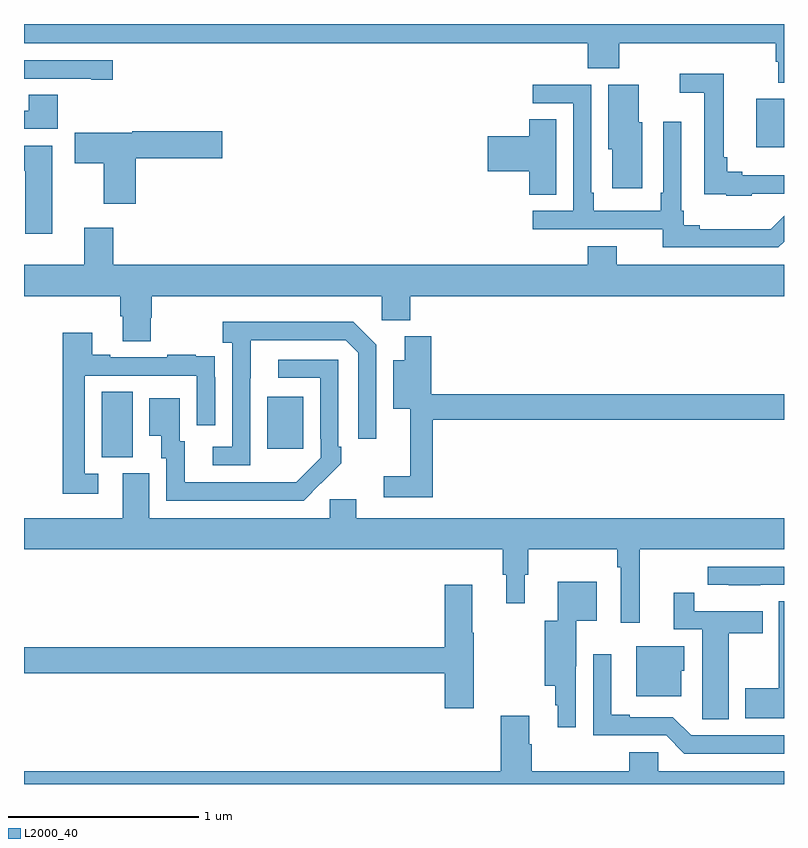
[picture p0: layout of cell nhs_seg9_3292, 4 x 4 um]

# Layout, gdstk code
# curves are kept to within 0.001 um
import gdstk
lib = gdstk.Library(unit=1e-6, precision=1e-09)
def R(c, l, rs):  # rectangles x0, y0, x1, y1
    for r in rs: c.add(gdstk.rectangle(r[:2], r[2:], *l))
def P(c, l, *ps):  # polygons
    for p in ps: c.add(gdstk.Polygon(p, *l))
L2000_40 = (2000, 40)

nhs_seg9_3292 = lib.new_cell('nhs_seg9_3292')
R(nhs_seg9_3292, L2000_40, [(299.408,1214.221,299.572,1214.564), (300.281,1214.265,300.469,1214.539), (302.855,1215.852,303,1216.107)])
P(nhs_seg9_3292, L2000_40, [(303,1216.5),(299,1216.5),(299,1216.4),(301.967,1216.4),(301.967,1216.266),(302.132,1216.266),(302.132,1216.4),(302.957,1216.4),(302.957,1216.302),(302.969,1216.302),(302.969,1216.192),(303,1216.192)],
  [(299.467,1216.308),(299,1216.308),(299,1216.212),(299.354,1216.212),(299.354,1216.207),(299.467,1216.207)],
  [(302.829,1215.606),(303,1215.606),(303,1215.703),(302.779,1215.703),(302.779,1215.722),(302.701,1215.722),(302.701,1215.799),(302.683,1215.799),(302.683,1216.237),(302.451,1216.237),(302.451,1216.139),(302.579,1216.139),(302.579,1215.605),(302.697,1215.605),(302.697,1215.596),(302.829,1215.596)],
  [(302.254,1215.984),(302.236,1215.984),(302.236,1216.18),(302.075,1216.18),(302.075,1215.84),(302.096,1215.84),(302.096,1215.636),(302.254,1215.636)],
  [(303,1215.354),(303,1215.492),(302.929,1215.421),(302.557,1215.421),(302.557,1215.44),(302.473,1215.44),(302.473,1215.517),(302.46,1215.517),(302.46,1215.985),(302.364,1215.985),(302.364,1215.613),(302.352,1215.613),(302.352,1215.516),(301.999,1215.516),(301.999,1215.613),(301.986,1215.613),(301.986,1216.179),(301.677,1216.179),(301.677,1216.083),(301.89,1216.083),(301.89,1215.516),(301.677,1215.516),(301.677,1215.42),(302.362,1215.42),(302.362,1215.324),(302.97,1215.324)],
  [(299.177,1216.127),(299.024,1216.127),(299.024,1216.044),(299,1216.044),(299,1215.948),(299.177,1215.948)],
  [(301.801,1215.998),(301.658,1215.998),(301.658,1215.908),(301.44,1215.908),(301.44,1215.725),(301.658,1215.725),(301.658,1215.601),(301.801,1215.601)],
  [(299.588,1215.794),(300.043,1215.794),(300.043,1215.936),(299.571,1215.936),(299.571,1215.928),(299.268,1215.928),(299.268,1215.766),(299.42,1215.766),(299.42,1215.555),(299.588,1215.555)],
  [(299.149,1215.859),(299,1215.859),(299,1215.728),(299.006,1215.728),(299.006,1215.396),(299.149,1215.396)],
  [(299.667,1214.955),(299.672,1214.955),(299.672,1215.068),(300.882,1215.068),(300.882,1214.942),(301.034,1214.942),(301.034,1215.068),(303,1215.068),(303,1215.232),(302.119,1215.232),(302.119,1215.331),(301.967,1215.331),(301.967,1215.232),(299.471,1215.232),(299.471,1215.427),(299.318,1215.427),(299.318,1215.232),(299,1215.232),(299,1215.068),(299.507,1215.068),(299.507,1214.962),(299.519,1214.962),(299.519,1214.83),(299.667,1214.83)],
  [(300.192,1214.635),(300.193,1214.835),(300.693,1214.835),(300.759,1214.769),(300.759,1214.316),(300.855,1214.316),(300.855,1214.811),(300.734,1214.932),(300.045,1214.932),(300.045,1214.822),(300.096,1214.822),(300.096,1214.274),(299.994,1214.274),(299.994,1214.178),(300.192,1214.178)],
  [(299.392,1214.133),(299.319,1214.133),(299.319,1214.649),(299.91,1214.649),(299.91,1214.388),(300.006,1214.388),(300.006,1214.642),(300.005,1214.642),(300.005,1214.751),(299.903,1214.751),(299.903,1214.758),(299.755,1214.758),(299.755,1214.745),(299.455,1214.745),(299.455,1214.758),(299.359,1214.758),(299.359,1214.875),(299.203,1214.875),(299.203,1214.028),(299.392,1214.028)],
  [(301.151,1214.416),(303,1214.416),(303,1214.552),(301.144,1214.552),(301.144,1214.857),(301.004,1214.857),(301.004,1214.731),(300.944,1214.731),(300.944,1214.474),(301.034,1214.474),(301.034,1214.119),(300.894,1214.119),(300.894,1214.01),(301.151,1214.01)],
  [(300.563,1214.083),(300.564,1214.082),(300.669,1214.187),(300.669,1214.275),(300.654,1214.275),(300.654,1214.733),(300.339,1214.733),(300.339,1214.637),(300.558,1214.637),(300.558,1214.317),(300.561,1214.317),(300.561,1214.217),(300.433,1214.089),(299.845,1214.088),(299.845,1214.304),(299.821,1214.304),(299.821,1214.53),(299.66,1214.53),(299.66,1214.333),(299.723,1214.333),(299.723,1214.214),(299.748,1214.214),(299.748,1213.992),(300.472,1213.992)],
  [(302.24,1213.736),(303,1213.736),(303,1213.9),(300.748,1213.9),(300.748,1213.998),(300.609,1213.998),(300.609,1213.9),(299.659,1213.9),(299.659,1214.136),(299.519,1214.136),(299.519,1213.9),(299,1213.9),(299,1213.736),(301.519,1213.736),(301.519,1213.602),(301.538,1213.602),(301.538,1213.452),(301.636,1213.452),(301.636,1213.602),(301.655,1213.602),(301.655,1213.736),(302.122,1213.736),(302.122,1213.64),(302.142,1213.64),(302.142,1213.35),(302.24,1213.35)],
  [(302.876,1213.548),(303,1213.548),(303,1213.644),(302.598,1213.644),(302.598,1213.548),(302.71,1213.548),(302.71,1213.547),(302.876,1213.547)],
  [(301.905,1213.12),(301.906,1213.12),(301.906,1213.358),(302.014,1213.358),(302.014,1213.564),(301.808,1213.564),(301.808,1213.36),(301.741,1213.36),(301.741,1213.016),(301.797,1213.016),(301.797,1212.915),(301.808,1212.915),(301.808,1212.798),(301.905,1212.798)],
  [(301.368,1213.297),(301.36,1213.297),(301.36,1213.549),(301.214,1213.549),(301.214,1213.22),(299,1213.22),(299,1213.084),(301.214,1213.084),(301.214,1212.9),(301.368,1212.9)],
  [(302.71,1213.294),(302.887,1213.294),(302.887,1213.41),(302.528,1213.41),(302.528,1213.507),(302.42,1213.507),(302.42,1213.314),(302.57,1213.314),(302.57,1212.952),(302.571,1212.952),(302.571,1212.841),(302.71,1212.841)],
  [(303,1213.463),(302.972,1213.463),(302.972,1213.005),(302.795,1213.005),(302.795,1212.845),(303,1212.845)],
  [(302.458,1213.095),(302.476,1213.095),(302.476,1213.225),(302.222,1213.225),(302.222,1212.962),(302.458,1212.962)],
  [(303,1212.756),(302.511,1212.756),(302.415,1212.852),(302.188,1212.852),(302.188,1212.865),(302.092,1212.865),(302.092,1213.183),(301.995,1213.183),(301.995,1212.756),(302.379,1212.756),(302.475,1212.66),(303,1212.66)],
  [(303,1212.568),(302.337,1212.568),(302.337,1212.666),(302.186,1212.666),(302.186,1212.568),(301.673,1212.568),(301.673,1212.71),(301.66,1212.71),(301.66,1212.859),(301.508,1212.859),(301.508,1212.568),(299,1212.568),(299,1212.5),(303,1212.5)])

lib.write_gds('nhs_seg9_3292.gds')
